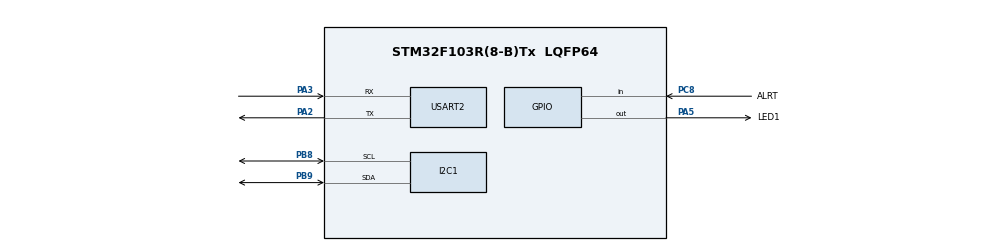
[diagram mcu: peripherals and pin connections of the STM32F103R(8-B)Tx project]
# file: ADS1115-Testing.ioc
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Mcu.Family=STM32F1
Mcu.Name=STM32F103R(8-B)Tx
Mcu.Package=LQFP64
NVIC.PriorityGroup=NVIC_PRIORITYGROUP_4
PA13.Mode=Serial_Wire
PA13.Signal=SYS_JTMS-SWDIO
PA14.Mode=Serial_Wire
PA14.Signal=SYS_JTCK-SWCLK
PA2.Mode=Asynchronous
PA2.Signal=USART2_TX
PA3.Mode=Asynchronous
PA3.Signal=USART2_RX
PA5.GPIO_Label=LED1
PA5.Signal=GPIO_Output
PB8.Mode=I2C
PB8.Signal=I2C1_SCL
PB9.Mode=I2C
PB9.Signal=I2C1_SDA
PC8.GPIO_Label=ALRT
PC8.Signal=GPIO_Input
ProjectManager.HeapSize=0x200
ProjectManager.StackSize=0x400
ProjectManager.TargetToolchain=STM32CubeIDE
RCC.APB1Freq_Value=8000000
RCC.APB2Freq_Value=8000000
USART2.VirtualMode=VM_ASYNC
board=custom

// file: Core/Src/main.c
/* USER CODE BEGIN Header */
/**
  ******************************************************************************
  * @file           : main.c
  * @brief          : Main program body
  ******************************************************************************
  * @attention
  *
  * Copyright (c) 2025 STMicroelectronics.
  * All rights reserved.
  *
  * This software is licensed under terms that can be found in the LICENSE file
  * in the root directory of this software component.
  * If no LICENSE file comes with this software, it is provided AS-IS.
  *
  ******************************************************************************
  */
/* USER CODE END Header */
#include "main.h"

/* USER CODE BEGIN Includes */

#include <string.h>
#include <stdio.h>

/* USER CODE END Includes */

I2C_HandleTypeDef hi2c1;

UART_HandleTypeDef huart2;

/* USER CODE BEGIN PV */

static uint8_t ADS1115_ADDR = 0b10010000; // I2C address of the ADS1115, left aligned (as I2C HAL expects, 7 bit address with R/W bit set by the HAL)
static uint8_t ADS1115_REG_CONVERSION = 0x00; // Register address for ADC conversion output
static uint8_t ADS1115_REG_CONFIG = 0x01; // Register address for configuration
static uint8_t ADS1115_REG_LO_THRESH = 0x02; // Register address for low threshold
static uint8_t ADS1115_REG_HI_THRESH = 0x03; // Register address for high threshold

uint16_t ads1115_config = 0b0100001011100011; // 15: OS, 14:12: MUX, 11:9: PGA, 8: MODE, 7:5: DR, 4: COMP_MODE, 3: COMP_POL, 2: COMP_LAT, 1:0: COMP_QUE
uint16_t ads1115_low_thresh = 32768; // 0V
uint16_t ads1115_high_thresh = 58024; // 3V

/* USER CODE END PV */

void SystemClock_Config(void);
static void MX_GPIO_Init(void);
static void MX_I2C1_Init(void);
static void MX_USART2_UART_Init(void);
/* USER CODE BEGIN PFP */

static void ADS1115_Init(void);
static void ADS1115_Select_Register(uint8_t* reg);
static void ADS1115_Write(uint8_t* reg, uint16_t* data);
static int16_t ADS1115_Read(void);

static HAL_StatusTypeDef I2C_Transmit(I2C_HandleTypeDef* hi2c, uint16_t DevAddress, uint8_t* pData, uint16_t Size, uint32_t Timeout);
static HAL_StatusTypeDef I2C_Receive(I2C_HandleTypeDef* hi2c, uint16_t DevAddress, uint8_t* pData, uint16_t Size, uint32_t Timeout);

/* USER CODE END PFP */

int main(void)
{

  /* MCU Configuration--------------------------------------------------------*/

  /* Reset of all peripherals, Initializes the Flash interface and the Systick. */
  HAL_Init();

  /* Configure the system clock */
  SystemClock_Config();

  /* Initialize all configured peripherals */
  MX_GPIO_Init();
  MX_I2C1_Init();
  MX_USART2_UART_Init();
  /* USER CODE BEGIN 2 */

  HAL_Delay(100);
  ADS1115_Init();
  HAL_Delay(100);

  HAL_StatusTypeDef status = HAL_I2C_IsDeviceReady(&hi2c1, ADS1115_ADDR, 1, HAL_MAX_DELAY);
  char msg[50];
  sprintf(msg, "ADS1115 Status: %d\r\n", status);
  HAL_UART_Transmit(&huart2, (uint8_t*)msg, strlen(msg), HAL_MAX_DELAY);

  /* USER CODE END 2 */

  /* Infinite loop */
  /* USER CODE BEGIN WHILE */
  uint16_t iters = 0;
  uint32_t previous_time;

  while (1)
  {
    /* USER CODE END WHILE */

    /* USER CODE BEGIN 3 */

    ADS1115_Read(); // Read the ADC value
    iters++;
    if (HAL_GetTick() - previous_time > 1000) {
      HAL_GPIO_TogglePin(LED1_GPIO_Port, LED1_Pin);

      previous_time = HAL_GetTick();

      sprintf(msg, "ADC Value: %d\r\n", ADS1115_Read());
      HAL_UART_Transmit(&huart2, (uint8_t*)msg, strlen(msg), HAL_MAX_DELAY);

      // print number iters in one second
      sprintf(msg, "Iterations per second: %d\r\n", iters);
      HAL_UART_Transmit(&huart2, (uint8_t*)msg, strlen(msg), HAL_MAX_DELAY);

      iters = 0;
    }
  }
  /* USER CODE END 3 */
}

void SystemClock_Config(void)
{
  RCC_OscInitTypeDef RCC_OscInitStruct = {0};
  RCC_ClkInitTypeDef RCC_ClkInitStruct = {0};

  /** Initializes the RCC Oscillators according to the specified parameters
  * in the RCC_OscInitTypeDef structure.
  */
  RCC_OscInitStruct.OscillatorType = RCC_OSCILLATORTYPE_HSI;
  RCC_OscInitStruct.HSIState = RCC_HSI_ON;
  RCC_OscInitStruct.HSICalibrationValue = RCC_HSICALIBRATION_DEFAULT;
  RCC_OscInitStruct.PLL.PLLState = RCC_PLL_NONE;
  if (HAL_RCC_OscConfig(&RCC_OscInitStruct) != HAL_OK)
  {
    Error_Handler();
  }

  /** Initializes the CPU, AHB and APB buses clocks
  */
  RCC_ClkInitStruct.ClockType = RCC_CLOCKTYPE_HCLK|RCC_CLOCKTYPE_SYSCLK
                              |RCC_CLOCKTYPE_PCLK1|RCC_CLOCKTYPE_PCLK2;
  RCC_ClkInitStruct.SYSCLKSource = RCC_SYSCLKSOURCE_HSI;
  RCC_ClkInitStruct.AHBCLKDivider = RCC_SYSCLK_DIV1;
  RCC_ClkInitStruct.APB1CLKDivider = RCC_HCLK_DIV1;
  RCC_ClkInitStruct.APB2CLKDivider = RCC_HCLK_DIV1;

  if (HAL_RCC_ClockConfig(&RCC_ClkInitStruct, FLASH_LATENCY_0) != HAL_OK)
  {
    Error_Handler();
  }
}

static void MX_I2C1_Init(void)
{

  hi2c1.Instance = I2C1;
  hi2c1.Init.ClockSpeed = 100000;
  hi2c1.Init.DutyCycle = I2C_DUTYCYCLE_2;
  hi2c1.Init.OwnAddress1 = 0;
  hi2c1.Init.AddressingMode = I2C_ADDRESSINGMODE_7BIT;
  hi2c1.Init.DualAddressMode = I2C_DUALADDRESS_DISABLE;
  hi2c1.Init.OwnAddress2 = 0;
  hi2c1.Init.GeneralCallMode = I2C_GENERALCALL_DISABLE;
  hi2c1.Init.NoStretchMode = I2C_NOSTRETCH_DISABLE;
  if (HAL_I2C_Init(&hi2c1) != HAL_OK)
  {
    Error_Handler();
  }

}

static void MX_USART2_UART_Init(void)
{

  huart2.Instance = USART2;
  huart2.Init.BaudRate = 115200;
  huart2.Init.WordLength = UART_WORDLENGTH_8B;
  huart2.Init.StopBits = UART_STOPBITS_1;
  huart2.Init.Parity = UART_PARITY_NONE;
  huart2.Init.Mode = UART_MODE_TX_RX;
  huart2.Init.HwFlowCtl = UART_HWCONTROL_NONE;
  huart2.Init.OverSampling = UART_OVERSAMPLING_16;
  if (HAL_UART_Init(&huart2) != HAL_OK)
  {
    Error_Handler();
  }

}

static void MX_GPIO_Init(void)
{
  GPIO_InitTypeDef GPIO_InitStruct = {0};

  /* GPIO Ports Clock Enable */
  __HAL_RCC_GPIOA_CLK_ENABLE();
  __HAL_RCC_GPIOC_CLK_ENABLE();
  __HAL_RCC_GPIOB_CLK_ENABLE();

  /*Configure GPIO pin Output Level */
  HAL_GPIO_WritePin(LED1_GPIO_Port, LED1_Pin, GPIO_PIN_RESET);

  /*Configure GPIO pin : LED1_Pin */
  GPIO_InitStruct.Pin = LED1_Pin;
  GPIO_InitStruct.Mode = GPIO_MODE_OUTPUT_PP;
  GPIO_InitStruct.Pull = GPIO_NOPULL;
  GPIO_InitStruct.Speed = GPIO_SPEED_FREQ_LOW;
  HAL_GPIO_Init(LED1_GPIO_Port, &GPIO_InitStruct);

  /*Configure GPIO pin : ALRT_Pin */
  GPIO_InitStruct.Pin = ALRT_Pin;
  GPIO_InitStruct.Mode = GPIO_MODE_INPUT;
  GPIO_InitStruct.Pull = GPIO_NOPULL;
  HAL_GPIO_Init(ALRT_GPIO_Port, &GPIO_InitStruct);

}

/* USER CODE BEGIN 4 */

static void ADS1115_Init(void)
{
  ADS1115_Write(&ADS1115_REG_CONFIG, &ads1115_config);
  ADS1115_Write(&ADS1115_REG_LO_THRESH, &ads1115_low_thresh);
  ADS1115_Write(&ADS1115_REG_HI_THRESH, &ads1115_high_thresh);
  ADS1115_Select_Register(&ADS1115_REG_CONVERSION); // Select conversion register for reading from
}

static void ADS1115_Select_Register(uint8_t* reg) {
  uint8_t buf[1] = {*reg}; // Buffer to send, first byte is the register address
  I2C_Transmit(&hi2c1, ADS1115_ADDR, buf, sizeof(buf), HAL_MAX_DELAY);
}

static void ADS1115_Write(uint8_t* reg, uint16_t* data) {
  // Write this better later, this data length this is stupid what if the msb is actually 0x00 and you want to send that
  uint8_t data_byte_msb = (uint8_t)((*data >> 8) & 0xFF); // First byte of data to send, most significant byte
  uint8_t data_byte_lsb = (uint8_t)(*data & 0xFF); // Least significant byte, with 0xFF mask to clear the upper 8 bits, probably not needed
  uint8_t buf[3] = {*reg, data_byte_msb, data_byte_lsb}; // Buffer to send, first byte is the register address, second and third are the data bytes
  uint8_t buf_len = data_byte_msb == 0x00 ? 2 : 3; // If msb if empty, only send register and lsb byte
  I2C_Transmit(&hi2c1, ADS1115_ADDR, buf, buf_len, HAL_MAX_DELAY);
}

// This reads from whatever register was last selected. Note that both Select_Register and Write functions will select the register to either read or write to
static int16_t ADS1115_Read(void) {
  uint8_t buf[2];
  I2C_Receive(&hi2c1, ADS1115_ADDR, buf, sizeof(buf), HAL_MAX_DELAY);
  int16_t ads_data = (buf[0] << 8) | buf[1]; // Combine the two bytes into a single 16-bit value
  int32_t ads_voltage = ads_data * 8.192 * 1000000 / 65536; // Output in uV to get full precision, going to need to dynamically change the full scale range of the ADC and this variable
  char msg[50];
  snprintf(msg, sizeof(msg), "ADC Value: %ld\r\n", ads_voltage);
  //HAL_UART_Transmit(&huart2, (uint8_t*)msg, strlen(msg), HAL_MAX_DELAY);
  return (int16_t)(ads_voltage/1000);
}

static HAL_StatusTypeDef I2C_Transmit(I2C_HandleTypeDef* hi2c, uint16_t DevAddress, uint8_t* pData, uint16_t Size, uint32_t Timeout)
{
  HAL_StatusTypeDef status = HAL_I2C_Master_Transmit(hi2c, DevAddress, pData, Size, Timeout);
  if (status != HAL_OK)
  {
    char msg[50];
    snprintf(msg, sizeof(msg), "I2C Transmit Error: %d\r\n", status);
    HAL_UART_Transmit(&huart2, (uint8_t*)msg, strlen(msg), HAL_MAX_DELAY);
    HAL_GPIO_TogglePin(LED1_GPIO_Port, LED1_Pin);
  }
  return status;
}

static HAL_StatusTypeDef I2C_Receive(I2C_HandleTypeDef* hi2c, uint16_t DevAddress, uint8_t* pData, uint16_t Size, uint32_t Timeout)
{
  HAL_StatusTypeDef status = HAL_I2C_Master_Receive(hi2c, DevAddress, pData, Size, Timeout);
  if (status != HAL_OK)
  {
    char msg[50];
    snprintf(msg, sizeof(msg), "I2C Receive Error: %d\r\n", status);
    HAL_UART_Transmit(&huart2, (uint8_t*)msg, strlen(msg), HAL_MAX_DELAY);
    HAL_GPIO_TogglePin(LED1_GPIO_Port, LED1_Pin);
  }
  return status;
}

/* USER CODE END 4 */

void Error_Handler(void)
{
  __disable_irq();
  while (1)
  {
  }
}
